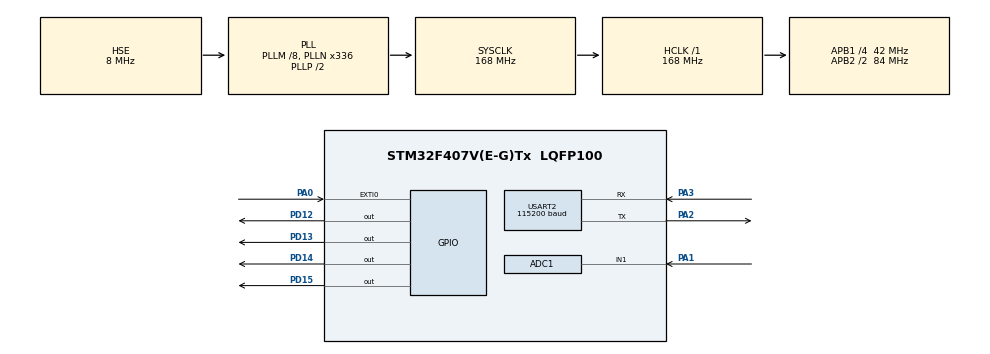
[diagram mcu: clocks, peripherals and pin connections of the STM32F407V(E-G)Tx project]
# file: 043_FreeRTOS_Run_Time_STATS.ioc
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ADC1.Channel-0\#ChannelRegularConversion=ADC_CHANNEL_1
ADC1.ClockPrescaler=ADC_CLOCK_SYNC_PCLK_DIV8
ADC1.ContinuousConvMode=DISABLE
ADC1.EnableAnalogWatchDog=false
ADC1.InjNumberOfConversion=0
ADC1.NbrOfConversion=1
ADC1.NbrOfConversionFlag=1
ADC1.Rank-0\#ChannelRegularConversion=1
ADC1.SamplingTime-0\#ChannelRegularConversion=ADC_SAMPLETIME_480CYCLES
ADC1.master=1
FREERTOS.Tasks01=defaultTask,24,128,StartDefaultTask,Default,NULL,Dynamic,NULL,NULL
FREERTOS.configUSE_NEWLIB_REENTRANT=1
Mcu.Family=STM32F4
Mcu.Name=STM32F407V(E-G)Tx
Mcu.Package=LQFP100
NVIC.ADC_IRQn=true\:5\:0\:false\:false\:true\:true\:true\:true\:true
NVIC.EXTI0_IRQn=true\:5\:0\:false\:false\:true\:true\:true\:true\:true
NVIC.PriorityGroup=NVIC_PRIORITYGROUP_4
NVIC.TIM8_TRG_COM_TIM14_IRQn=true\:15\:0\:false\:false\:true\:false\:false\:true\:true
NVIC.TIM8_UP_TIM13_IRQn=true\:5\:0\:false\:false\:true\:true\:true\:true\:true
NVIC.TimeBase=TIM8_TRG_COM_TIM14_IRQn
NVIC.TimeBaseIP=TIM14
NVIC.USART2_IRQn=true\:5\:0\:false\:false\:true\:true\:true\:true\:true
PA0-WKUP.Signal=GPXTI0
PA1.Signal=ADCx_IN1
PA2.Mode=Asynchronous
PA2.Signal=USART2_TX
PA3.Mode=Asynchronous
PA3.Signal=USART2_RX
PD12.Signal=GPIO_Output
PD13.Signal=GPIO_Output
PD14.Signal=GPIO_Output
PD15.Signal=GPIO_Output
PH0-OSC_IN.Mode=HSE-External-Oscillator
PH0-OSC_IN.Signal=RCC_OSC_IN
PH1-OSC_OUT.Mode=HSE-External-Oscillator
PH1-OSC_OUT.Signal=RCC_OSC_OUT
ProjectManager.HeapSize=0x200
ProjectManager.StackSize=0x400
ProjectManager.TargetToolchain=STM32CubeIDE
RCC.48MHZClocksFreq_Value=48000000
RCC.AHBFreq_Value=168000000
RCC.APB1CLKDivider=RCC_HCLK_DIV4
RCC.APB1Freq_Value=42000000
RCC.APB1TimFreq_Value=84000000
RCC.APB2CLKDivider=RCC_HCLK_DIV2
RCC.APB2Freq_Value=84000000
RCC.APB2TimFreq_Value=168000000
RCC.CortexFreq_Value=168000000
RCC.HCLKFreq_Value=168000000
RCC.HSE_VALUE=8000000
RCC.HSI_VALUE=16000000
RCC.LSE_VALUE=32768
RCC.PLLM=8
RCC.PLLN=336
RCC.PLLQ=7
RCC.PLLSourceVirtual=RCC_PLLSOURCE_HSE
RCC.SYSCLKFreq_VALUE=168000000
RCC.SYSCLKSource=RCC_SYSCLKSOURCE_PLLCLK
RCC.VCOOutputFreq_Value=336000000
SH.ADCx_IN1.0=ADC1_IN1,IN1
TIM13.Period=10-1
TIM13.Prescaler=84-1
USART2.BaudRate=115200
USART2.VirtualMode=VM_ASYNC
VP_FREERTOS_VS_CMSIS_V2.Mode=CMSIS_V2
VP_SYS_VS_tim14.Mode=TIM14
VP_TIM13_VS_ClockSourceINT.Mode=Enable_Timer
board=STM32F407G-DISC1

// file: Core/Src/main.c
/* USER CODE BEGIN Header */
/**
  ******************************************************************************
  * @file           : main.c
  * @brief          : Main program body
  ******************************************************************************
  * @attention
  *
  * Copyright (c) 2023 STMicroelectronics.
  * All rights reserved.
  *
  * This software is licensed under terms that can be found in the LICENSE file
  * in the root directory of this software component.
  * If no LICENSE file comes with this software, it is provided AS-IS.
  *
  ******************************************************************************
  */
/* USER CODE END Header */
#include "main.h"

/* USER CODE BEGIN Includes */
#include "FreeRTOS.h"
#include "task.h"
#include <string.h>
#include <stdio.h>
/* USER CODE END Includes */

ADC_HandleTypeDef hadc1;

TIM_HandleTypeDef htim13;

UART_HandleTypeDef huart2;

/* Definitions for defaultTask */

/* USER CODE BEGIN PV */
uint32_t ulOverflowCount = 0;
/* USER CODE END PV */

void SystemClock_Config(void);
static void MX_GPIO_Init(void);
static void MX_USART2_UART_Init(void);
static void MX_ADC1_Init(void);
static void MX_TIM13_Init(void);

/* USER CODE BEGIN 0 */
void vSetupTimerForRunTimeStats()
{
	HAL_TIM_Base_Start_IT(&htim13);
}
static void prvStatsTask(void *pvParameters)
{
	TickType_t xLastExecutionTime = xTaskGetTickCount();
	static signed char cStringBuffer[ 512 ];
	const TickType_t xBlockPeriod = pdMS_TO_TICKS( 5000 );
	const char *buf = "\nTask\t\tAbs\t\t\t%%\n";
	const char *dash = "------------------------------------------\r\n";

	for( ;; )
	{
		vTaskDelayUntil( &xLastExecutionTime, xBlockPeriod );
		vTaskGetRunTimeStats( cStringBuffer );
		HAL_UART_Transmit(&huart2, (uint8_t*)buf, strlen(buf), HAL_MAX_DELAY);
		HAL_UART_Transmit(&huart2, (uint8_t*)dash, strlen(dash), HAL_MAX_DELAY);
		HAL_UART_Transmit(&huart2, (uint8_t*)cStringBuffer, strlen(cStringBuffer), HAL_MAX_DELAY);
	}
}
void LedTask(void *pvParameters)
{
	for(;;)
	{
		HAL_GPIO_TogglePin(GPIOD, GPIO_PIN_12);
		vTaskDelay(500);
	}
}
/* USER CODE END 0 */

int main(void)
{

  /* MCU Configuration--------------------------------------------------------*/

  /* Reset of all peripherals, Initializes the Flash interface and the Systick. */
  HAL_Init();

  /* Configure the system clock */
  SystemClock_Config();

  /* Initialize all configured peripherals */
  MX_GPIO_Init();
  MX_USART2_UART_Init();
  MX_ADC1_Init();
  MX_TIM13_Init();
  /* USER CODE BEGIN 2 */
  xTaskCreate(prvStatsTask, "Stat Task", 2000, NULL, 1, NULL);
  xTaskCreate(LedTask, "Led Task", configMINIMAL_STACK_SIZE, NULL, 1, NULL);
  vTaskStartScheduler();
  /* USER CODE END 2 */

  /* Init scheduler */

  /* Create the thread(s) */
  /* creation of defaultTask */

  /* Start scheduler */

  /* We should never get here as control is now taken by the scheduler */
  /* Infinite loop */
  while (1)
  {

  }
}

void SystemClock_Config(void)
{
  RCC_OscInitTypeDef RCC_OscInitStruct = {0};
  RCC_ClkInitTypeDef RCC_ClkInitStruct = {0};

  /** Configure the main internal regulator output voltage
  */
  __HAL_RCC_PWR_CLK_ENABLE();
  __HAL_PWR_VOLTAGESCALING_CONFIG(PWR_REGULATOR_VOLTAGE_SCALE1);

  /** Initializes the RCC Oscillators according to the specified parameters
  * in the RCC_OscInitTypeDef structure.
  */
  RCC_OscInitStruct.OscillatorType = RCC_OSCILLATORTYPE_HSE;
  RCC_OscInitStruct.HSEState = RCC_HSE_ON;
  RCC_OscInitStruct.PLL.PLLState = RCC_PLL_ON;
  RCC_OscInitStruct.PLL.PLLSource = RCC_PLLSOURCE_HSE;
  RCC_OscInitStruct.PLL.PLLM = 8;
  RCC_OscInitStruct.PLL.PLLN = 336;
  RCC_OscInitStruct.PLL.PLLP = RCC_PLLP_DIV2;
  RCC_OscInitStruct.PLL.PLLQ = 7;
  if (HAL_RCC_OscConfig(&RCC_OscInitStruct) != HAL_OK)
  {
    Error_Handler();
  }

  /** Initializes the CPU, AHB and APB buses clocks
  */
  RCC_ClkInitStruct.ClockType = RCC_CLOCKTYPE_HCLK|RCC_CLOCKTYPE_SYSCLK
                              |RCC_CLOCKTYPE_PCLK1|RCC_CLOCKTYPE_PCLK2;
  RCC_ClkInitStruct.SYSCLKSource = RCC_SYSCLKSOURCE_PLLCLK;
  RCC_ClkInitStruct.AHBCLKDivider = RCC_SYSCLK_DIV1;
  RCC_ClkInitStruct.APB1CLKDivider = RCC_HCLK_DIV4;
  RCC_ClkInitStruct.APB2CLKDivider = RCC_HCLK_DIV2;

  if (HAL_RCC_ClockConfig(&RCC_ClkInitStruct, FLASH_LATENCY_5) != HAL_OK)
  {
    Error_Handler();
  }
}

static void MX_ADC1_Init(void)
{

  ADC_ChannelConfTypeDef sConfig = {0};

  /** Configure the global features of the ADC (Clock, Resolution, Data Alignment and number of conversion)
  */
  hadc1.Instance = ADC1;
  hadc1.Init.ClockPrescaler = ADC_CLOCK_SYNC_PCLK_DIV8;
  hadc1.Init.Resolution = ADC_RESOLUTION_12B;
  hadc1.Init.ScanConvMode = DISABLE;
  hadc1.Init.ContinuousConvMode = DISABLE;
  hadc1.Init.DiscontinuousConvMode = DISABLE;
  hadc1.Init.ExternalTrigConvEdge = ADC_EXTERNALTRIGCONVEDGE_NONE;
  hadc1.Init.ExternalTrigConv = ADC_SOFTWARE_START;
  hadc1.Init.DataAlign = ADC_DATAALIGN_RIGHT;
  hadc1.Init.NbrOfConversion = 1;
  hadc1.Init.DMAContinuousRequests = DISABLE;
  hadc1.Init.EOCSelection = ADC_EOC_SINGLE_CONV;
  if (HAL_ADC_Init(&hadc1) != HAL_OK)
  {
    Error_Handler();
  }

  /** Configure for the selected ADC regular channel its corresponding rank in the sequencer and its sample time.
  */
  sConfig.Channel = ADC_CHANNEL_1;
  sConfig.Rank = 1;
  sConfig.SamplingTime = ADC_SAMPLETIME_480CYCLES;
  if (HAL_ADC_ConfigChannel(&hadc1, &sConfig) != HAL_OK)
  {
    Error_Handler();
  }

}

static void MX_TIM13_Init(void)
{

  htim13.Instance = TIM13;
  htim13.Init.Prescaler = 84-1;
  htim13.Init.CounterMode = TIM_COUNTERMODE_UP;
  htim13.Init.Period = 10-1;
  htim13.Init.ClockDivision = TIM_CLOCKDIVISION_DIV1;
  htim13.Init.AutoReloadPreload = TIM_AUTORELOAD_PRELOAD_DISABLE;
  if (HAL_TIM_Base_Init(&htim13) != HAL_OK)
  {
    Error_Handler();
  }

}

static void MX_USART2_UART_Init(void)
{

  huart2.Instance = USART2;
  huart2.Init.BaudRate = 115200;
  huart2.Init.WordLength = UART_WORDLENGTH_8B;
  huart2.Init.StopBits = UART_STOPBITS_1;
  huart2.Init.Parity = UART_PARITY_NONE;
  huart2.Init.Mode = UART_MODE_TX_RX;
  huart2.Init.HwFlowCtl = UART_HWCONTROL_NONE;
  huart2.Init.OverSampling = UART_OVERSAMPLING_16;
  if (HAL_UART_Init(&huart2) != HAL_OK)
  {
    Error_Handler();
  }

}

static void MX_GPIO_Init(void)
{
  GPIO_InitTypeDef GPIO_InitStruct = {0};

  /* GPIO Ports Clock Enable */
  __HAL_RCC_GPIOH_CLK_ENABLE();
  __HAL_RCC_GPIOA_CLK_ENABLE();
  __HAL_RCC_GPIOD_CLK_ENABLE();

  /*Configure GPIO pin Output Level */
  HAL_GPIO_WritePin(GPIOD, GPIO_PIN_12|GPIO_PIN_13|GPIO_PIN_14|GPIO_PIN_15, GPIO_PIN_RESET);

  /*Configure GPIO pin : PA0 */
  GPIO_InitStruct.Pin = GPIO_PIN_0;
  GPIO_InitStruct.Mode = GPIO_MODE_IT_RISING;
  GPIO_InitStruct.Pull = GPIO_NOPULL;
  HAL_GPIO_Init(GPIOA, &GPIO_InitStruct);

  /*Configure GPIO pins : PD12 PD13 PD14 PD15 */
  GPIO_InitStruct.Pin = GPIO_PIN_12|GPIO_PIN_13|GPIO_PIN_14|GPIO_PIN_15;
  GPIO_InitStruct.Mode = GPIO_MODE_OUTPUT_PP;
  GPIO_InitStruct.Pull = GPIO_NOPULL;
  GPIO_InitStruct.Speed = GPIO_SPEED_FREQ_LOW;
  HAL_GPIO_Init(GPIOD, &GPIO_InitStruct);

  /* EXTI interrupt init*/
  HAL_NVIC_SetPriority(EXTI0_IRQn, 5, 0);
  HAL_NVIC_EnableIRQ(EXTI0_IRQn);

}

void HAL_TIM_PeriodElapsedCallback(TIM_HandleTypeDef *htim)
{
  if (htim->Instance == TIM14) {
    HAL_IncTick();
  }
  /* USER CODE BEGIN Callback 1 */
  if(htim->Instance == TIM13)
  {
	  ulOverflowCount++;
  }
  /* USER CODE END Callback 1 */
}

void Error_Handler(void)
{
  __disable_irq();
  while (1)
  {
  }
}
